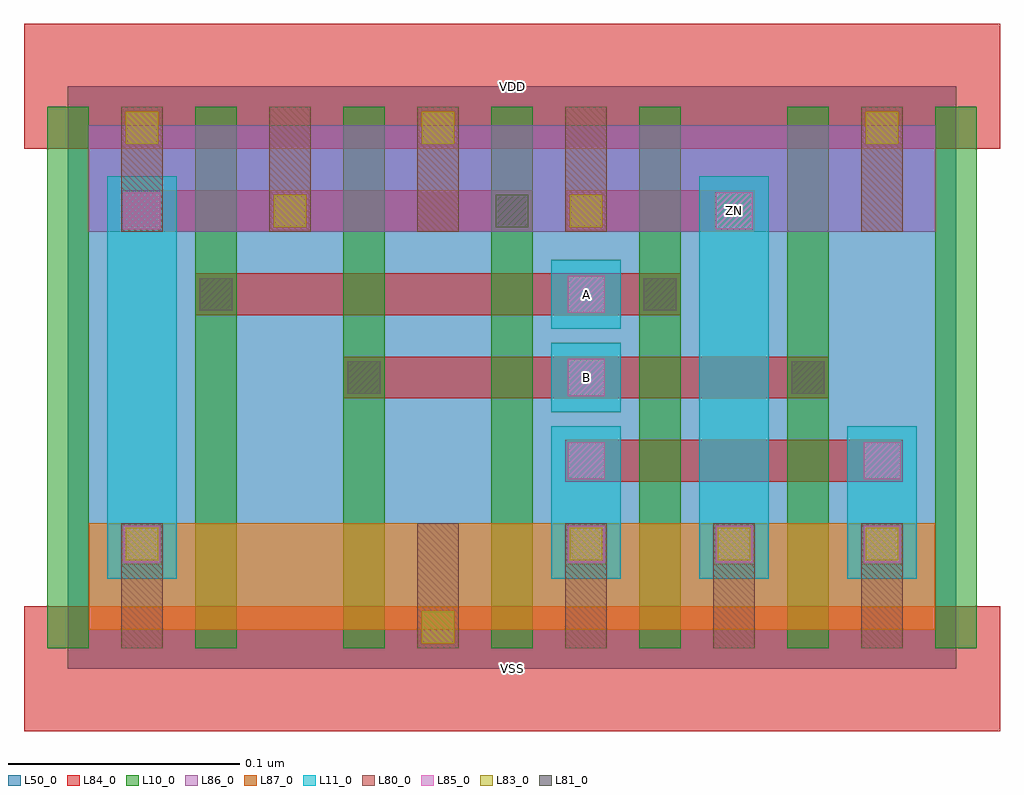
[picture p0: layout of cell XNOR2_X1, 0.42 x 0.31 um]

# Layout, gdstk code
import gdstk
lib = gdstk.Library(unit=1e-6, precision=1e-09)
def R(c, l, rs):  # rectangles x0, y0, x1, y1
    for r in rs: c.add(gdstk.rectangle(r[:2], r[2:], *l))
def A(c, l, x, y, w, h, nx, ny, dx, dy):  # array of equal rectangles
    R(c, l, [(x+i*dx, y+j*dy, x+i*dx+w, y+j*dy+h) for i in range(nx) for j in range(ny)])
L10_0 = (10, 0)
L11_0 = (11, 0)
L50_0 = (50, 0)
L80_0 = (80, 0)
L81_0 = (81, 0)
L83_0 = (83, 0)
L84_0 = (84, 0)
L85_0 = (85, 0)
L86_0 = (86, 0)
L87_0 = (87, 0)

xnor2_x1 = lib.new_cell('XNOR2_X1')
A(xnor2_x1, L10_0, -0.009, 0.009, 0.018, 0.234, 7, 1, 0.064, 0)
R(xnor2_x1, L11_0, [(0.017,0.039,0.047,0.213), (0.209,0.039,0.239,0.105), (0.273,0.039,0.303,0.213), (0.337,0.039,0.367,0.105), (0.209,0.111,0.239,0.141), (0.209,0.147,0.239,0.177)])
R(xnor2_x1, L50_0, [(0,0,0.384,0.252)])
A(xnor2_x1, L80_0, 0.151, 0.009, 0.018, 0.054, 4, 1, 0.064, 0)
A(xnor2_x1, L80_0, 0.023, 0.189, 0.018, 0.054, 4, 1, 0.064, 0)
R(xnor2_x1, L80_0, [(0.023,0.009,0.041,0.063), (0.343,0.189,0.361,0.243)])
R(xnor2_x1, L81_0, [(0.121,0.119,0.135,0.133), (0.313,0.119,0.327,0.133), (0.057,0.155,0.071,0.169), (0.249,0.155,0.263,0.169), (0.185,0.191,0.199,0.205)])
A(xnor2_x1, L83_0, 0.217, 0.047, 0.014, 0.014, 3, 1, 0.064, 0)
R(xnor2_x1, L83_0, [(0.153,0.011,0.167,0.025), (0.025,0.047,0.039,0.061), (0.089,0.191,0.103,0.205), (0.217,0.191,0.231,0.205), (0.025,0.227,0.039,0.241), (0.153,0.227,0.167,0.241), (0.345,0.227,0.359,0.241)])
A(xnor2_x1, L84_0, 0.215, 0.045, 0.018, 0.018, 3, 1, 0.064, 0)
R(xnor2_x1, L84_0, [(-0.019,-0.027,0.403,0.027), (0.023,0.045,0.041,0.063), (0.215,0.081,0.361,0.099), (0.119,0.117,0.329,0.135), (0.055,0.153,0.265,0.171), (0.023,0.189,0.201,0.207), (0.215,0.189,0.297,0.207), (-0.019,0.225,0.403,0.279)])
A(xnor2_x1, L85_0, 0.216, 0.046, 0.016, 0.016, 3, 1, 0.064, 0)
A(xnor2_x1, L85_0, 0.216, 0.082, 0.016, 0.016, 1, 3, 0, 0.036)
R(xnor2_x1, L85_0, [(0.024,0.046,0.04,0.062), (0.344,0.082,0.36,0.098), (0.024,0.19,0.04,0.206), (0.28,0.19,0.296,0.206)])
R(xnor2_x1, L86_0, [(0.009,0.189,0.375,0.235)])
R(xnor2_x1, L87_0, [(0.009,0.017,0.375,0.063)])
xnor2_x1.add(gdstk.Label('VDD', (0.192,0.252), layer=88, texttype=0))
xnor2_x1.add(gdstk.Label('VSS', (0.192,0), layer=88, texttype=0))
xnor2_x1.add(gdstk.Label('ZN', (0.288,0.198), layer=31, texttype=0))
xnor2_x1.add(gdstk.Label('B', (0.224,0.126), layer=31, texttype=0))
xnor2_x1.add(gdstk.Label('A', (0.224,0.162), layer=31, texttype=0))

lib.write_gds('XNOR2_X1.gds')
